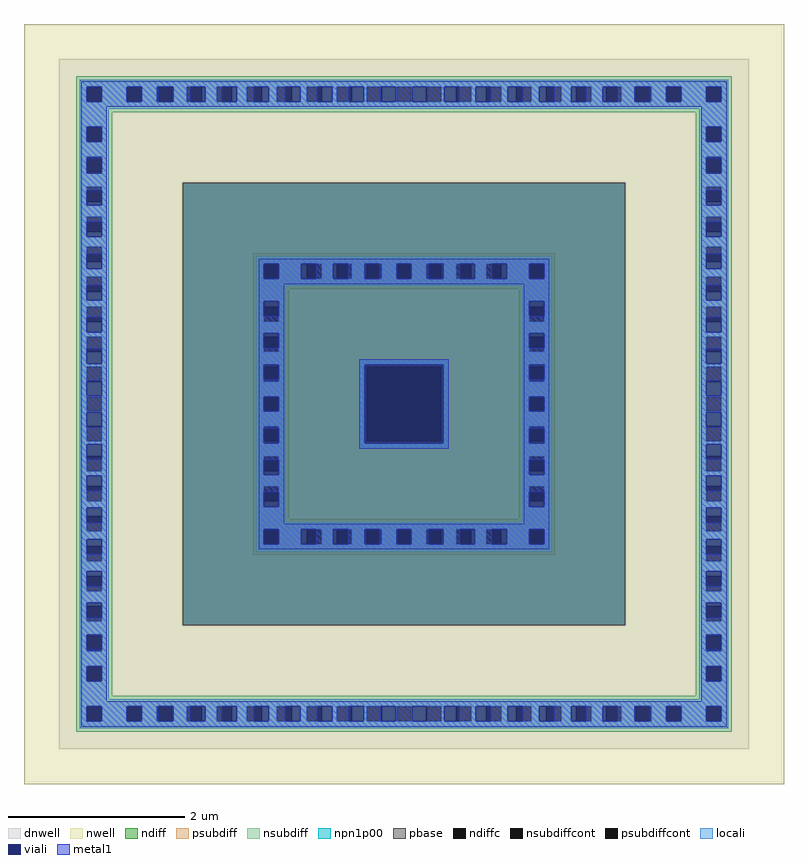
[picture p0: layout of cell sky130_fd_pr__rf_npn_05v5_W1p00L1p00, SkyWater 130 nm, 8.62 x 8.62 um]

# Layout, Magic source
magic
tech sky130A
magscale 1 2
<< dnwell >>
rect 80 80 1644 1644
<< nwell >>
rect 0 1364 1724 1724
rect 0 360 360 1364
rect 1364 360 1724 1364
rect 0 0 1724 360
<< pbase >>
rect 360 360 1364 1364
<< npn1p00 >>
rect 360 360 1364 1364
<< ndiff >>
rect 762 947 962 962
rect 762 777 777 947
rect 947 777 962 947
rect 762 762 962 777
<< ndiffc >>
rect 777 777 947 947
<< psubdiff >>
rect 520 1180 1204 1204
rect 520 1146 544 1180
rect 578 1146 641 1180
rect 675 1146 709 1180
rect 743 1146 777 1180
rect 811 1146 845 1180
rect 879 1146 913 1180
rect 947 1146 981 1180
rect 1015 1146 1049 1180
rect 1083 1146 1146 1180
rect 1180 1146 1204 1180
rect 520 1122 1204 1146
rect 520 1083 602 1122
rect 520 1049 544 1083
rect 578 1049 602 1083
rect 520 1015 602 1049
rect 520 981 544 1015
rect 578 981 602 1015
rect 520 947 602 981
rect 1122 1083 1204 1122
rect 1122 1049 1146 1083
rect 1180 1049 1204 1083
rect 1122 1015 1204 1049
rect 1122 981 1146 1015
rect 1180 981 1204 1015
rect 520 913 544 947
rect 578 913 602 947
rect 520 879 602 913
rect 520 845 544 879
rect 578 845 602 879
rect 520 811 602 845
rect 520 777 544 811
rect 578 777 602 811
rect 520 743 602 777
rect 1122 947 1204 981
rect 1122 913 1146 947
rect 1180 913 1204 947
rect 1122 879 1204 913
rect 1122 845 1146 879
rect 1180 845 1204 879
rect 1122 811 1204 845
rect 1122 777 1146 811
rect 1180 777 1204 811
rect 520 709 544 743
rect 578 709 602 743
rect 520 675 602 709
rect 520 641 544 675
rect 578 641 602 675
rect 520 602 602 641
rect 1122 743 1204 777
rect 1122 709 1146 743
rect 1180 709 1204 743
rect 1122 675 1204 709
rect 1122 641 1146 675
rect 1180 641 1204 675
rect 1122 602 1204 641
rect 520 578 1204 602
rect 520 544 544 578
rect 578 544 641 578
rect 675 544 709 578
rect 743 544 777 578
rect 811 544 845 578
rect 879 544 913 578
rect 947 544 981 578
rect 1015 544 1049 578
rect 1083 544 1146 578
rect 1180 544 1204 578
rect 520 520 1204 544
<< nsubdiff >>
rect 118 1582 1606 1606
rect 118 1548 142 1582
rect 176 1548 233 1582
rect 267 1548 301 1582
rect 335 1548 369 1582
rect 403 1548 437 1582
rect 471 1548 505 1582
rect 539 1548 573 1582
rect 607 1548 641 1582
rect 675 1548 709 1582
rect 743 1548 777 1582
rect 811 1548 845 1582
rect 879 1548 913 1582
rect 947 1548 981 1582
rect 1015 1548 1049 1582
rect 1083 1548 1117 1582
rect 1151 1548 1185 1582
rect 1219 1548 1253 1582
rect 1287 1548 1321 1582
rect 1355 1548 1389 1582
rect 1423 1548 1457 1582
rect 1491 1548 1548 1582
rect 1582 1548 1606 1582
rect 118 1524 1606 1548
rect 118 1491 200 1524
rect 118 1457 142 1491
rect 176 1457 200 1491
rect 118 1423 200 1457
rect 118 1389 142 1423
rect 176 1389 200 1423
rect 118 1355 200 1389
rect 118 1321 142 1355
rect 176 1321 200 1355
rect 118 1287 200 1321
rect 118 1253 142 1287
rect 176 1253 200 1287
rect 118 1219 200 1253
rect 118 1185 142 1219
rect 176 1185 200 1219
rect 1524 1491 1606 1524
rect 1524 1457 1548 1491
rect 1582 1457 1606 1491
rect 1524 1423 1606 1457
rect 1524 1389 1548 1423
rect 1582 1389 1606 1423
rect 1524 1355 1606 1389
rect 1524 1321 1548 1355
rect 1582 1321 1606 1355
rect 1524 1287 1606 1321
rect 1524 1253 1548 1287
rect 1582 1253 1606 1287
rect 1524 1219 1606 1253
rect 118 1151 200 1185
rect 118 1117 142 1151
rect 176 1117 200 1151
rect 118 1083 200 1117
rect 118 1049 142 1083
rect 176 1049 200 1083
rect 118 1015 200 1049
rect 118 981 142 1015
rect 176 981 200 1015
rect 118 947 200 981
rect 118 913 142 947
rect 176 913 200 947
rect 118 879 200 913
rect 118 845 142 879
rect 176 845 200 879
rect 118 811 200 845
rect 118 777 142 811
rect 176 777 200 811
rect 118 743 200 777
rect 118 709 142 743
rect 176 709 200 743
rect 118 675 200 709
rect 118 641 142 675
rect 176 641 200 675
rect 118 607 200 641
rect 118 573 142 607
rect 176 573 200 607
rect 118 539 200 573
rect 118 505 142 539
rect 176 505 200 539
rect 1524 1185 1548 1219
rect 1582 1185 1606 1219
rect 1524 1151 1606 1185
rect 1524 1117 1548 1151
rect 1582 1117 1606 1151
rect 1524 1083 1606 1117
rect 1524 1049 1548 1083
rect 1582 1049 1606 1083
rect 1524 1015 1606 1049
rect 1524 981 1548 1015
rect 1582 981 1606 1015
rect 1524 947 1606 981
rect 1524 913 1548 947
rect 1582 913 1606 947
rect 1524 879 1606 913
rect 1524 845 1548 879
rect 1582 845 1606 879
rect 1524 811 1606 845
rect 1524 777 1548 811
rect 1582 777 1606 811
rect 1524 743 1606 777
rect 1524 709 1548 743
rect 1582 709 1606 743
rect 1524 675 1606 709
rect 1524 641 1548 675
rect 1582 641 1606 675
rect 1524 607 1606 641
rect 1524 573 1548 607
rect 1582 573 1606 607
rect 1524 539 1606 573
rect 118 471 200 505
rect 118 437 142 471
rect 176 437 200 471
rect 118 403 200 437
rect 118 369 142 403
rect 176 369 200 403
rect 118 335 200 369
rect 118 301 142 335
rect 176 301 200 335
rect 118 267 200 301
rect 118 233 142 267
rect 176 233 200 267
rect 118 200 200 233
rect 1524 505 1548 539
rect 1582 505 1606 539
rect 1524 471 1606 505
rect 1524 437 1548 471
rect 1582 437 1606 471
rect 1524 403 1606 437
rect 1524 369 1548 403
rect 1582 369 1606 403
rect 1524 335 1606 369
rect 1524 301 1548 335
rect 1582 301 1606 335
rect 1524 267 1606 301
rect 1524 233 1548 267
rect 1582 233 1606 267
rect 1524 200 1606 233
rect 118 176 1606 200
rect 118 142 142 176
rect 176 142 233 176
rect 267 142 301 176
rect 335 142 369 176
rect 403 142 437 176
rect 471 142 505 176
rect 539 142 573 176
rect 607 142 641 176
rect 675 142 709 176
rect 743 142 777 176
rect 811 142 845 176
rect 879 142 913 176
rect 947 142 981 176
rect 1015 142 1049 176
rect 1083 142 1117 176
rect 1151 142 1185 176
rect 1219 142 1253 176
rect 1287 142 1321 176
rect 1355 142 1389 176
rect 1423 142 1457 176
rect 1491 142 1548 176
rect 1582 142 1606 176
rect 118 118 1606 142
<< psubdiffcont >>
rect 544 1146 578 1180
rect 641 1146 675 1180
rect 709 1146 743 1180
rect 777 1146 811 1180
rect 845 1146 879 1180
rect 913 1146 947 1180
rect 981 1146 1015 1180
rect 1049 1146 1083 1180
rect 1146 1146 1180 1180
rect 544 1049 578 1083
rect 544 981 578 1015
rect 1146 1049 1180 1083
rect 1146 981 1180 1015
rect 544 913 578 947
rect 544 845 578 879
rect 544 777 578 811
rect 1146 913 1180 947
rect 1146 845 1180 879
rect 1146 777 1180 811
rect 544 709 578 743
rect 544 641 578 675
rect 1146 709 1180 743
rect 1146 641 1180 675
rect 544 544 578 578
rect 641 544 675 578
rect 709 544 743 578
rect 777 544 811 578
rect 845 544 879 578
rect 913 544 947 578
rect 981 544 1015 578
rect 1049 544 1083 578
rect 1146 544 1180 578
<< nsubdiffcont >>
rect 142 1548 176 1582
rect 233 1548 267 1582
rect 301 1548 335 1582
rect 369 1548 403 1582
rect 437 1548 471 1582
rect 505 1548 539 1582
rect 573 1548 607 1582
rect 641 1548 675 1582
rect 709 1548 743 1582
rect 777 1548 811 1582
rect 845 1548 879 1582
rect 913 1548 947 1582
rect 981 1548 1015 1582
rect 1049 1548 1083 1582
rect 1117 1548 1151 1582
rect 1185 1548 1219 1582
rect 1253 1548 1287 1582
rect 1321 1548 1355 1582
rect 1389 1548 1423 1582
rect 1457 1548 1491 1582
rect 1548 1548 1582 1582
rect 142 1457 176 1491
rect 142 1389 176 1423
rect 142 1321 176 1355
rect 142 1253 176 1287
rect 142 1185 176 1219
rect 1548 1457 1582 1491
rect 1548 1389 1582 1423
rect 1548 1321 1582 1355
rect 1548 1253 1582 1287
rect 142 1117 176 1151
rect 142 1049 176 1083
rect 142 981 176 1015
rect 142 913 176 947
rect 142 845 176 879
rect 142 777 176 811
rect 142 709 176 743
rect 142 641 176 675
rect 142 573 176 607
rect 142 505 176 539
rect 1548 1185 1582 1219
rect 1548 1117 1582 1151
rect 1548 1049 1582 1083
rect 1548 981 1582 1015
rect 1548 913 1582 947
rect 1548 845 1582 879
rect 1548 777 1582 811
rect 1548 709 1582 743
rect 1548 641 1582 675
rect 1548 573 1582 607
rect 142 437 176 471
rect 142 369 176 403
rect 142 301 176 335
rect 142 233 176 267
rect 1548 505 1582 539
rect 1548 437 1582 471
rect 1548 369 1582 403
rect 1548 301 1582 335
rect 1548 233 1582 267
rect 142 142 176 176
rect 233 142 267 176
rect 301 142 335 176
rect 369 142 403 176
rect 437 142 471 176
rect 505 142 539 176
rect 573 142 607 176
rect 641 142 675 176
rect 709 142 743 176
rect 777 142 811 176
rect 845 142 879 176
rect 913 142 947 176
rect 981 142 1015 176
rect 1049 142 1083 176
rect 1117 142 1151 176
rect 1185 142 1219 176
rect 1253 142 1287 176
rect 1321 142 1355 176
rect 1389 142 1423 176
rect 1457 142 1491 176
rect 1548 142 1582 176
<< locali >>
rect 126 1582 1598 1598
rect 126 1548 142 1582
rect 176 1548 233 1582
rect 267 1548 301 1582
rect 339 1548 369 1582
rect 411 1548 437 1582
rect 483 1548 505 1582
rect 555 1548 573 1582
rect 627 1548 641 1582
rect 699 1548 709 1582
rect 771 1548 777 1582
rect 843 1548 845 1582
rect 879 1548 881 1582
rect 947 1548 953 1582
rect 1015 1548 1025 1582
rect 1083 1548 1097 1582
rect 1151 1548 1169 1582
rect 1219 1548 1241 1582
rect 1287 1548 1313 1582
rect 1355 1548 1385 1582
rect 1423 1548 1457 1582
rect 1491 1548 1548 1582
rect 1582 1548 1598 1582
rect 126 1532 1598 1548
rect 126 1491 192 1532
rect 126 1457 142 1491
rect 176 1457 192 1491
rect 126 1423 192 1457
rect 126 1385 142 1423
rect 176 1385 192 1423
rect 126 1355 192 1385
rect 126 1313 142 1355
rect 176 1313 192 1355
rect 126 1287 192 1313
rect 126 1241 142 1287
rect 176 1241 192 1287
rect 126 1219 192 1241
rect 126 1169 142 1219
rect 176 1169 192 1219
rect 1532 1491 1598 1532
rect 1532 1457 1548 1491
rect 1582 1457 1598 1491
rect 1532 1423 1598 1457
rect 1532 1385 1548 1423
rect 1582 1385 1598 1423
rect 1532 1355 1598 1385
rect 1532 1313 1548 1355
rect 1582 1313 1598 1355
rect 1532 1287 1598 1313
rect 1532 1241 1548 1287
rect 1582 1241 1598 1287
rect 1532 1219 1598 1241
rect 126 1151 192 1169
rect 126 1097 142 1151
rect 176 1097 192 1151
rect 126 1083 192 1097
rect 126 1025 142 1083
rect 176 1025 192 1083
rect 126 1015 192 1025
rect 126 953 142 1015
rect 176 953 192 1015
rect 126 947 192 953
rect 126 881 142 947
rect 176 881 192 947
rect 126 879 192 881
rect 126 845 142 879
rect 176 845 192 879
rect 126 843 192 845
rect 126 777 142 843
rect 176 777 192 843
rect 126 771 192 777
rect 126 709 142 771
rect 176 709 192 771
rect 126 699 192 709
rect 126 641 142 699
rect 176 641 192 699
rect 126 627 192 641
rect 126 573 142 627
rect 176 573 192 627
rect 126 555 192 573
rect 126 505 142 555
rect 176 505 192 555
rect 528 1180 1196 1196
rect 528 1146 544 1180
rect 578 1146 629 1180
rect 675 1146 701 1180
rect 743 1146 773 1180
rect 811 1146 845 1180
rect 879 1146 913 1180
rect 951 1146 981 1180
rect 1023 1146 1049 1180
rect 1095 1146 1146 1180
rect 1180 1146 1196 1180
rect 528 1130 1196 1146
rect 528 1095 594 1130
rect 528 1049 544 1095
rect 578 1049 594 1095
rect 528 1023 594 1049
rect 528 981 544 1023
rect 578 981 594 1023
rect 528 951 594 981
rect 1130 1095 1196 1130
rect 1130 1049 1146 1095
rect 1180 1049 1196 1095
rect 1130 1023 1196 1049
rect 1130 981 1146 1023
rect 1180 981 1196 1023
rect 528 913 544 951
rect 578 913 594 951
rect 528 879 594 913
rect 528 845 544 879
rect 578 845 594 879
rect 528 811 594 845
rect 528 773 544 811
rect 578 773 594 811
rect 528 743 594 773
rect 761 951 963 963
rect 761 773 773 951
rect 951 773 963 951
rect 761 761 963 773
rect 1130 951 1196 981
rect 1130 913 1146 951
rect 1180 913 1196 951
rect 1130 879 1196 913
rect 1130 845 1146 879
rect 1180 845 1196 879
rect 1130 811 1196 845
rect 1130 773 1146 811
rect 1180 773 1196 811
rect 528 701 544 743
rect 578 701 594 743
rect 528 675 594 701
rect 528 629 544 675
rect 578 629 594 675
rect 528 594 594 629
rect 1130 743 1196 773
rect 1130 701 1146 743
rect 1180 701 1196 743
rect 1130 675 1196 701
rect 1130 629 1146 675
rect 1180 629 1196 675
rect 1130 594 1196 629
rect 528 578 1196 594
rect 528 544 544 578
rect 578 544 629 578
rect 675 544 701 578
rect 743 544 773 578
rect 811 544 845 578
rect 879 544 913 578
rect 951 544 981 578
rect 1023 544 1049 578
rect 1095 544 1146 578
rect 1180 544 1196 578
rect 528 528 1196 544
rect 1532 1169 1548 1219
rect 1582 1169 1598 1219
rect 1532 1151 1598 1169
rect 1532 1097 1548 1151
rect 1582 1097 1598 1151
rect 1532 1083 1598 1097
rect 1532 1025 1548 1083
rect 1582 1025 1598 1083
rect 1532 1015 1598 1025
rect 1532 953 1548 1015
rect 1582 953 1598 1015
rect 1532 947 1598 953
rect 1532 881 1548 947
rect 1582 881 1598 947
rect 1532 879 1598 881
rect 1532 845 1548 879
rect 1582 845 1598 879
rect 1532 843 1598 845
rect 1532 777 1548 843
rect 1582 777 1598 843
rect 1532 771 1598 777
rect 1532 709 1548 771
rect 1582 709 1598 771
rect 1532 699 1598 709
rect 1532 641 1548 699
rect 1582 641 1598 699
rect 1532 627 1598 641
rect 1532 573 1548 627
rect 1582 573 1598 627
rect 1532 555 1598 573
rect 126 483 192 505
rect 126 437 142 483
rect 176 437 192 483
rect 126 411 192 437
rect 126 369 142 411
rect 176 369 192 411
rect 126 339 192 369
rect 126 301 142 339
rect 176 301 192 339
rect 126 267 192 301
rect 126 233 142 267
rect 176 233 192 267
rect 126 192 192 233
rect 1532 505 1548 555
rect 1582 505 1598 555
rect 1532 483 1598 505
rect 1532 437 1548 483
rect 1582 437 1598 483
rect 1532 411 1598 437
rect 1532 369 1548 411
rect 1582 369 1598 411
rect 1532 339 1598 369
rect 1532 301 1548 339
rect 1582 301 1598 339
rect 1532 267 1598 301
rect 1532 233 1548 267
rect 1582 233 1598 267
rect 1532 192 1598 233
rect 126 176 1598 192
rect 126 142 142 176
rect 176 142 233 176
rect 267 142 301 176
rect 339 142 369 176
rect 411 142 437 176
rect 483 142 505 176
rect 555 142 573 176
rect 627 142 641 176
rect 699 142 709 176
rect 771 142 777 176
rect 843 142 845 176
rect 879 142 881 176
rect 947 142 953 176
rect 1015 142 1025 176
rect 1083 142 1097 176
rect 1151 142 1169 176
rect 1219 142 1241 176
rect 1287 142 1313 176
rect 1355 142 1385 176
rect 1423 142 1457 176
rect 1491 142 1548 176
rect 1582 142 1598 176
rect 126 126 1598 142
<< viali >>
rect 142 1548 176 1582
rect 233 1548 267 1582
rect 305 1548 335 1582
rect 335 1548 339 1582
rect 377 1548 403 1582
rect 403 1548 411 1582
rect 449 1548 471 1582
rect 471 1548 483 1582
rect 521 1548 539 1582
rect 539 1548 555 1582
rect 593 1548 607 1582
rect 607 1548 627 1582
rect 665 1548 675 1582
rect 675 1548 699 1582
rect 737 1548 743 1582
rect 743 1548 771 1582
rect 809 1548 811 1582
rect 811 1548 843 1582
rect 881 1548 913 1582
rect 913 1548 915 1582
rect 953 1548 981 1582
rect 981 1548 987 1582
rect 1025 1548 1049 1582
rect 1049 1548 1059 1582
rect 1097 1548 1117 1582
rect 1117 1548 1131 1582
rect 1169 1548 1185 1582
rect 1185 1548 1203 1582
rect 1241 1548 1253 1582
rect 1253 1548 1275 1582
rect 1313 1548 1321 1582
rect 1321 1548 1347 1582
rect 1385 1548 1389 1582
rect 1389 1548 1419 1582
rect 1457 1548 1491 1582
rect 1548 1548 1582 1582
rect 142 1457 176 1491
rect 142 1389 176 1419
rect 142 1385 176 1389
rect 142 1321 176 1347
rect 142 1313 176 1321
rect 142 1253 176 1275
rect 142 1241 176 1253
rect 142 1185 176 1203
rect 142 1169 176 1185
rect 1548 1457 1582 1491
rect 1548 1389 1582 1419
rect 1548 1385 1582 1389
rect 1548 1321 1582 1347
rect 1548 1313 1582 1321
rect 1548 1253 1582 1275
rect 1548 1241 1582 1253
rect 142 1117 176 1131
rect 142 1097 176 1117
rect 142 1049 176 1059
rect 142 1025 176 1049
rect 142 981 176 987
rect 142 953 176 981
rect 142 913 176 915
rect 142 881 176 913
rect 142 811 176 843
rect 142 809 176 811
rect 142 743 176 771
rect 142 737 176 743
rect 142 675 176 699
rect 142 665 176 675
rect 142 607 176 627
rect 142 593 176 607
rect 142 539 176 555
rect 142 521 176 539
rect 544 1146 578 1180
rect 629 1146 641 1180
rect 641 1146 663 1180
rect 701 1146 709 1180
rect 709 1146 735 1180
rect 773 1146 777 1180
rect 777 1146 807 1180
rect 845 1146 879 1180
rect 917 1146 947 1180
rect 947 1146 951 1180
rect 989 1146 1015 1180
rect 1015 1146 1023 1180
rect 1061 1146 1083 1180
rect 1083 1146 1095 1180
rect 1146 1146 1180 1180
rect 544 1083 578 1095
rect 544 1061 578 1083
rect 544 1015 578 1023
rect 544 989 578 1015
rect 1146 1083 1180 1095
rect 1146 1061 1180 1083
rect 1146 1015 1180 1023
rect 1146 989 1180 1015
rect 544 947 578 951
rect 544 917 578 947
rect 544 845 578 879
rect 544 777 578 807
rect 544 773 578 777
rect 773 947 951 951
rect 773 777 777 947
rect 777 777 947 947
rect 947 777 951 947
rect 773 773 951 777
rect 1146 947 1180 951
rect 1146 917 1180 947
rect 1146 845 1180 879
rect 1146 777 1180 807
rect 1146 773 1180 777
rect 544 709 578 735
rect 544 701 578 709
rect 544 641 578 663
rect 544 629 578 641
rect 1146 709 1180 735
rect 1146 701 1180 709
rect 1146 641 1180 663
rect 1146 629 1180 641
rect 544 544 578 578
rect 629 544 641 578
rect 641 544 663 578
rect 701 544 709 578
rect 709 544 735 578
rect 773 544 777 578
rect 777 544 807 578
rect 845 544 879 578
rect 917 544 947 578
rect 947 544 951 578
rect 989 544 1015 578
rect 1015 544 1023 578
rect 1061 544 1083 578
rect 1083 544 1095 578
rect 1146 544 1180 578
rect 1548 1185 1582 1203
rect 1548 1169 1582 1185
rect 1548 1117 1582 1131
rect 1548 1097 1582 1117
rect 1548 1049 1582 1059
rect 1548 1025 1582 1049
rect 1548 981 1582 987
rect 1548 953 1582 981
rect 1548 913 1582 915
rect 1548 881 1582 913
rect 1548 811 1582 843
rect 1548 809 1582 811
rect 1548 743 1582 771
rect 1548 737 1582 743
rect 1548 675 1582 699
rect 1548 665 1582 675
rect 1548 607 1582 627
rect 1548 593 1582 607
rect 142 471 176 483
rect 142 449 176 471
rect 142 403 176 411
rect 142 377 176 403
rect 142 335 176 339
rect 142 305 176 335
rect 142 233 176 267
rect 1548 539 1582 555
rect 1548 521 1582 539
rect 1548 471 1582 483
rect 1548 449 1582 471
rect 1548 403 1582 411
rect 1548 377 1582 403
rect 1548 335 1582 339
rect 1548 305 1582 335
rect 1548 233 1582 267
rect 142 142 176 176
rect 233 142 267 176
rect 305 142 335 176
rect 335 142 339 176
rect 377 142 403 176
rect 403 142 411 176
rect 449 142 471 176
rect 471 142 483 176
rect 521 142 539 176
rect 539 142 555 176
rect 593 142 607 176
rect 607 142 627 176
rect 665 142 675 176
rect 675 142 699 176
rect 737 142 743 176
rect 743 142 771 176
rect 809 142 811 176
rect 811 142 843 176
rect 881 142 913 176
rect 913 142 915 176
rect 953 142 981 176
rect 981 142 987 176
rect 1025 142 1049 176
rect 1049 142 1059 176
rect 1097 142 1117 176
rect 1117 142 1131 176
rect 1169 142 1185 176
rect 1185 142 1203 176
rect 1241 142 1253 176
rect 1253 142 1275 176
rect 1313 142 1321 176
rect 1321 142 1347 176
rect 1385 142 1389 176
rect 1389 142 1419 176
rect 1457 142 1491 176
rect 1548 142 1582 176
<< metal1 >>
rect 130 1582 1594 1594
rect 130 1548 142 1582
rect 176 1548 233 1582
rect 267 1548 305 1582
rect 339 1548 377 1582
rect 411 1548 449 1582
rect 483 1548 521 1582
rect 555 1548 593 1582
rect 627 1548 665 1582
rect 699 1548 737 1582
rect 771 1548 809 1582
rect 843 1548 881 1582
rect 915 1548 953 1582
rect 987 1548 1025 1582
rect 1059 1548 1097 1582
rect 1131 1548 1169 1582
rect 1203 1548 1241 1582
rect 1275 1548 1313 1582
rect 1347 1548 1385 1582
rect 1419 1548 1457 1582
rect 1491 1548 1548 1582
rect 1582 1548 1594 1582
rect 130 1536 1594 1548
rect 130 1491 188 1536
rect 130 1457 142 1491
rect 176 1457 188 1491
rect 130 1419 188 1457
rect 130 1385 142 1419
rect 176 1385 188 1419
rect 130 1347 188 1385
rect 130 1313 142 1347
rect 176 1313 188 1347
rect 130 1275 188 1313
rect 130 1241 142 1275
rect 176 1241 188 1275
rect 130 1203 188 1241
rect 130 1169 142 1203
rect 176 1169 188 1203
rect 1536 1491 1594 1536
rect 1536 1457 1548 1491
rect 1582 1457 1594 1491
rect 1536 1419 1594 1457
rect 1536 1385 1548 1419
rect 1582 1385 1594 1419
rect 1536 1347 1594 1385
rect 1536 1313 1548 1347
rect 1582 1313 1594 1347
rect 1536 1275 1594 1313
rect 1536 1241 1548 1275
rect 1582 1241 1594 1275
rect 1536 1203 1594 1241
rect 130 1131 188 1169
rect 130 1097 142 1131
rect 176 1097 188 1131
rect 130 1059 188 1097
rect 130 1025 142 1059
rect 176 1025 188 1059
rect 130 987 188 1025
rect 130 953 142 987
rect 176 953 188 987
rect 130 915 188 953
rect 130 881 142 915
rect 176 881 188 915
rect 130 843 188 881
rect 130 809 142 843
rect 176 809 188 843
rect 130 771 188 809
rect 130 737 142 771
rect 176 737 188 771
rect 130 699 188 737
rect 130 665 142 699
rect 176 665 188 699
rect 130 627 188 665
rect 130 593 142 627
rect 176 593 188 627
rect 130 555 188 593
rect 130 521 142 555
rect 176 521 188 555
rect 532 1180 1192 1192
rect 532 1146 544 1180
rect 578 1146 629 1180
rect 663 1146 701 1180
rect 735 1146 773 1180
rect 807 1146 845 1180
rect 879 1146 917 1180
rect 951 1146 989 1180
rect 1023 1146 1061 1180
rect 1095 1146 1146 1180
rect 1180 1146 1192 1180
rect 532 1134 1192 1146
rect 532 1095 590 1134
rect 532 1061 544 1095
rect 578 1061 590 1095
rect 532 1023 590 1061
rect 532 989 544 1023
rect 578 989 590 1023
rect 532 951 590 989
rect 1134 1095 1192 1134
rect 1134 1061 1146 1095
rect 1180 1061 1192 1095
rect 1134 1023 1192 1061
rect 1134 989 1146 1023
rect 1180 989 1192 1023
rect 532 917 544 951
rect 578 917 590 951
rect 532 879 590 917
rect 532 845 544 879
rect 578 845 590 879
rect 532 807 590 845
rect 532 773 544 807
rect 578 773 590 807
rect 532 735 590 773
rect 761 951 963 963
rect 761 773 773 951
rect 951 773 963 951
rect 761 761 963 773
rect 1134 951 1192 989
rect 1134 917 1146 951
rect 1180 917 1192 951
rect 1134 879 1192 917
rect 1134 845 1146 879
rect 1180 845 1192 879
rect 1134 807 1192 845
rect 1134 773 1146 807
rect 1180 773 1192 807
rect 532 701 544 735
rect 578 701 590 735
rect 532 663 590 701
rect 532 629 544 663
rect 578 629 590 663
rect 532 590 590 629
rect 1134 735 1192 773
rect 1134 701 1146 735
rect 1180 701 1192 735
rect 1134 663 1192 701
rect 1134 629 1146 663
rect 1180 629 1192 663
rect 1134 590 1192 629
rect 532 578 1192 590
rect 532 544 544 578
rect 578 544 629 578
rect 663 544 701 578
rect 735 544 773 578
rect 807 544 845 578
rect 879 544 917 578
rect 951 544 989 578
rect 1023 544 1061 578
rect 1095 544 1146 578
rect 1180 544 1192 578
rect 532 532 1192 544
rect 1536 1169 1548 1203
rect 1582 1169 1594 1203
rect 1536 1131 1594 1169
rect 1536 1097 1548 1131
rect 1582 1097 1594 1131
rect 1536 1059 1594 1097
rect 1536 1025 1548 1059
rect 1582 1025 1594 1059
rect 1536 987 1594 1025
rect 1536 953 1548 987
rect 1582 953 1594 987
rect 1536 915 1594 953
rect 1536 881 1548 915
rect 1582 881 1594 915
rect 1536 843 1594 881
rect 1536 809 1548 843
rect 1582 809 1594 843
rect 1536 771 1594 809
rect 1536 737 1548 771
rect 1582 737 1594 771
rect 1536 699 1594 737
rect 1536 665 1548 699
rect 1582 665 1594 699
rect 1536 627 1594 665
rect 1536 593 1548 627
rect 1582 593 1594 627
rect 1536 555 1594 593
rect 130 483 188 521
rect 130 449 142 483
rect 176 449 188 483
rect 130 411 188 449
rect 130 377 142 411
rect 176 377 188 411
rect 130 339 188 377
rect 130 305 142 339
rect 176 305 188 339
rect 130 267 188 305
rect 130 233 142 267
rect 176 233 188 267
rect 130 188 188 233
rect 1536 521 1548 555
rect 1582 521 1594 555
rect 1536 483 1594 521
rect 1536 449 1548 483
rect 1582 449 1594 483
rect 1536 411 1594 449
rect 1536 377 1548 411
rect 1582 377 1594 411
rect 1536 339 1594 377
rect 1536 305 1548 339
rect 1582 305 1594 339
rect 1536 267 1594 305
rect 1536 233 1548 267
rect 1582 233 1594 267
rect 1536 188 1594 233
rect 130 176 1594 188
rect 130 142 142 176
rect 176 142 233 176
rect 267 142 305 176
rect 339 142 377 176
rect 411 142 449 176
rect 483 142 521 176
rect 555 142 593 176
rect 627 142 665 176
rect 699 142 737 176
rect 771 142 809 176
rect 843 142 881 176
rect 915 142 953 176
rect 987 142 1025 176
rect 1059 142 1097 176
rect 1131 142 1169 176
rect 1203 142 1241 176
rect 1275 142 1313 176
rect 1347 142 1385 176
rect 1419 142 1457 176
rect 1491 142 1548 176
rect 1582 142 1594 176
rect 130 130 1594 142
<< properties >>
string gencell sky130_fd_pr__rf_npn_05v5_W1p00L1p00
string GDS_FILE $PDKPATH/libs.ref/sky130_fd_pr/gds/sky130_fd_pr.gds
string GDS_END 8934504
string GDS_START 8912732
string parameter m=1
string library sky130
string path 4.500 9.000 4.500 38.600 38.600 38.600 38.600 4.500 0.000 4.500 
<< end >>
